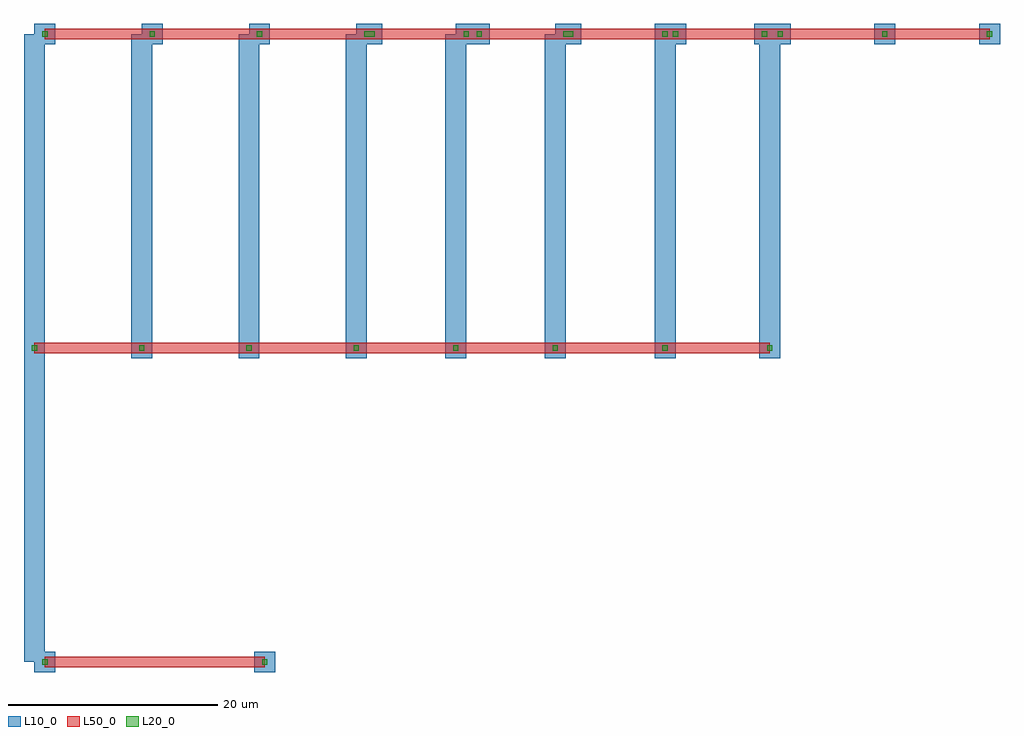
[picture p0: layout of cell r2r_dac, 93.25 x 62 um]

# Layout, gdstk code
import gdstk
lib = gdstk.Library(unit=1e-6, precision=1e-09)
def R(c, l, rs):  # rectangles x0, y0, x1, y1
    for r in rs: c.add(gdstk.rectangle(r[:2], r[2:], *l))
def A(c, l, x, y, w, h, nx, ny, dx, dy):  # array of equal rectangles
    R(c, l, [(x+i*dx, y+j*dy, x+i*dx+w, y+j*dy+h) for i in range(nx) for j in range(ny)])
L10_0 = (10, 0)
L20_0 = (20, 0)
L50_0 = (50, 0)

r_sp0 = lib.new_cell('R_sp0')
R(r_sp0, L10_0, [(-1,-0.5,1,1.5), (9.25,-0.5,11.25,1.5)])
R(r_sp0, L20_0, [(-0.25,0.25,0.25,0.75), (10,0.25,10.5,0.75)])
R(r_sp0, L50_0, [(0,0,10.25,1)])

r_sp3 = lib.new_cell('R_sp3')
R(r_sp3, L10_0, [(-1,-0.5,1,1.5), (8.5,-0.5,10.5,1.5)])
R(r_sp3, L20_0, [(-0.25,0.25,0.25,0.75), (9.25,0.25,9.75,0.75)])
R(r_sp3, L50_0, [(0,0,9.5,1)])

r_sp5 = lib.new_cell('R_sp5')
R(r_sp5, L10_0, [(-1,-0.5,1,1.5), (9.5,-0.5,11.5,1.5)])
R(r_sp5, L20_0, [(-0.25,0.25,0.25,0.75), (10.25,0.25,10.75,0.75)])
R(r_sp5, L50_0, [(0,0,10.5,1)])

r_sp6 = lib.new_cell('R_sp6')
R(r_sp6, L10_0, [(-1,-0.5,1,1.5), (9,-0.5,11,1.5)])
R(r_sp6, L20_0, [(-0.25,0.25,0.25,0.75), (9.75,0.25,10.25,0.75)])
R(r_sp6, L50_0, [(0,0,10,1)])

r_in0 = lib.new_cell('R_in0')
R(r_in0, L10_0, [(-1,-0.5,1,1.5), (19.5,-0.5,21.5,1.5)])
R(r_in0, L20_0, [(-0.25,0.25,0.25,0.75), (20.25,0.25,20.75,0.75)])
R(r_in0, L50_0, [(0,0,20.5,1)])

r_term = lib.new_cell('R_term')
R(r_term, L10_0, [(-1,-0.5,1,1.5), (20,-0.5,22,1.5)])
R(r_term, L20_0, [(-0.25,0.25,0.25,0.75), (20.75,0.25,21.25,0.75)])
R(r_term, L50_0, [(0,0,21,1)])

r_in3 = lib.new_cell('R_in3')
R(r_in3, L10_0, [(-1,-0.5,1,1.5), (18.5,-0.5,20.5,1.5)])
R(r_in3, L20_0, [(-0.25,0.25,0.25,0.75), (19.25,0.25,19.75,0.75)])
R(r_in3, L50_0, [(0,0,19.5,1)])

r_in4 = lib.new_cell('R_in4')
R(r_in4, L10_0, [(-1,-0.5,1,1.5), (18,-0.5,20,1.5)])
R(r_in4, L20_0, [(-0.25,0.25,0.25,0.75), (18.75,0.25,19.25,0.75)])
R(r_in4, L50_0, [(0,0,19,1)])

r_in6 = lib.new_cell('R_in6')
R(r_in6, L10_0, [(-1,-0.5,1,1.5), (19,-0.5,21,1.5)])
R(r_in6, L20_0, [(-0.25,0.25,0.25,0.75), (19.75,0.25,20.25,0.75)])
R(r_in6, L50_0, [(0,0,20,1)])

r2r_dac = lib.new_cell('r2r_dac')
A(r2r_dac, L10_0, -1, 0.5, 2, 30, 4, 1, 10.25, 0)
R(r2r_dac, L10_0, [(-1,-29.5,1,0.5), (39.25,0.5,41.25,30.5), (48.75,0.5,50.75,30.5), (59.25,0.5,61.25,30.5), (69.25,0.5,71.25,30.5)])
r2r_dac.add(gdstk.Reference(r_sp0, (0,0)))
r2r_dac.add(gdstk.Reference(r_sp0, (10.25,0)))
r2r_dac.add(gdstk.Reference(r_sp0, (20.5,0)))
r2r_dac.add(gdstk.Reference(r_sp3, (30.75,0)))
r2r_dac.add(gdstk.Reference(r_sp3, (40.25,0)))
r2r_dac.add(gdstk.Reference(r_sp5, (49.75,0)))
r2r_dac.add(gdstk.Reference(r_sp6, (60.25,0)))
r2r_dac.add(gdstk.Reference(r_in0, (1,30)))
r2r_dac.add(gdstk.Reference(r_term, (11.25,30)))
r2r_dac.add(gdstk.Reference(r_term, (21.5,30)))
r2r_dac.add(gdstk.Reference(r_in3, (31.75,30)))
r2r_dac.add(gdstk.Reference(r_in4, (41.25,30)))
r2r_dac.add(gdstk.Reference(r_in4, (50.75,30)))
r2r_dac.add(gdstk.Reference(r_in6, (61.25,30)))
r2r_dac.add(gdstk.Reference(r_in6, (71.25,30)))
r2r_dac.add(gdstk.Reference(r_term, (1,-30)))

lib.write_gds('r2r_dac.gds')
